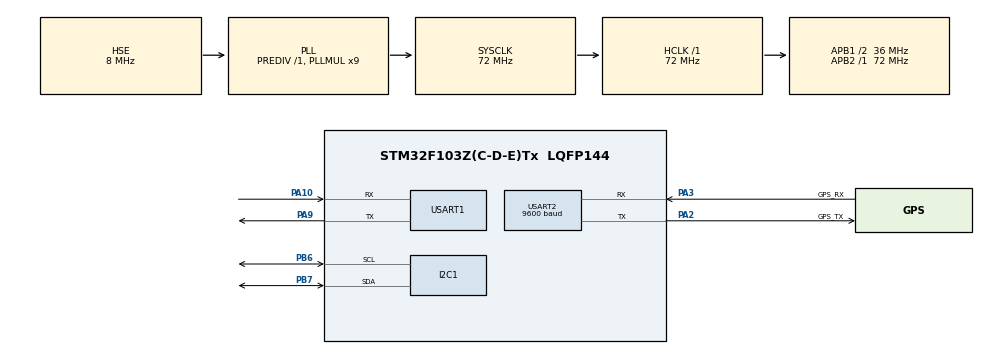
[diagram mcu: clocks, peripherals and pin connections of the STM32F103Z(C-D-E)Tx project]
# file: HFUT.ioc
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Dma.Request0=USART2_RX
Dma.USART2_RX.0.Direction=DMA_PERIPH_TO_MEMORY
Dma.USART2_RX.0.Instance=DMA1_Channel6
Dma.USART2_RX.0.MemDataAlignment=DMA_MDATAALIGN_BYTE
Dma.USART2_RX.0.MemInc=DMA_MINC_ENABLE
Dma.USART2_RX.0.Mode=DMA_CIRCULAR
Dma.USART2_RX.0.PeriphDataAlignment=DMA_PDATAALIGN_BYTE
Dma.USART2_RX.0.PeriphInc=DMA_PINC_DISABLE
Dma.USART2_RX.0.Priority=DMA_PRIORITY_MEDIUM
Mcu.Family=STM32F1
Mcu.Name=STM32F103Z(C-D-E)Tx
Mcu.Package=LQFP144
NVIC.DMA1_Channel6_IRQn=true\:0\:0\:false\:false\:true\:false\:true
NVIC.PriorityGroup=NVIC_PRIORITYGROUP_4
NVIC.USART1_IRQn=true\:0\:0\:false\:false\:true\:true\:true
OSC_IN.Mode=HSE-External-Oscillator
OSC_IN.Signal=RCC_OSC_IN
OSC_OUT.Mode=HSE-External-Oscillator
OSC_OUT.Signal=RCC_OSC_OUT
PA10.Mode=Asynchronous
PA10.Signal=USART1_RX
PA13.Mode=Serial_Wire
PA13.Signal=SYS_JTMS-SWDIO
PA14.Mode=Serial_Wire
PA14.Signal=SYS_JTCK-SWCLK
PA2.GPIO_Label=GPS_TX
PA2.Mode=Asynchronous
PA2.Signal=USART2_TX
PA3.GPIO_Label=GPS_RX
PA3.Mode=Asynchronous
PA3.Signal=USART2_RX
PA9.Mode=Asynchronous
PA9.Signal=USART1_TX
PB6.Mode=I2C
PB6.Signal=I2C1_SCL
PB7.Mode=I2C
PB7.Signal=I2C1_SDA
ProjectManager.HeapSize=0x2000
ProjectManager.StackSize=0x4000
ProjectManager.TargetToolchain=SW4STM32
RCC.AHBFreq_Value=72000000
RCC.APB1CLKDivider=RCC_HCLK_DIV2
RCC.APB1Freq_Value=36000000
RCC.APB1TimFreq_Value=72000000
RCC.APB2Freq_Value=72000000
RCC.APB2TimFreq_Value=72000000
RCC.HCLKFreq_Value=72000000
RCC.PLLMUL=RCC_PLL_MUL9
RCC.PLLSourceVirtual=RCC_PLLSOURCE_HSE
RCC.SYSCLKFreq_VALUE=72000000
RCC.SYSCLKSource=RCC_SYSCLKSOURCE_PLLCLK
RCC.USBFreq_Value=72000000
USART1.VirtualMode=VM_ASYNC
USART2.BaudRate=9600
USART2.VirtualMode=VM_ASYNC
board=custom

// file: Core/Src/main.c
/* USER CODE BEGIN Header */
/**
  ******************************************************************************
  * @file           : main.c
  * @brief          : Main program body
  ******************************************************************************
  * @attention
  *
  * <h2><center>&copy; Copyright (c) 2020 STMicroelectronics.
  * All rights reserved.</center></h2>
  *
  * This software component is licensed by ST under BSD 3-Clause license,
  * the "License"; You may not use this file except in compliance with the
  * License. You may obtain a copy of the License at:
  *                        opensource.org/licenses/BSD-3-Clause
  *
  ******************************************************************************
  */
/* USER CODE END Header */
#include "main.h"
#include "dma.h"
#include "i2c.h"
#include "usart.h"
#include "gpio.h"

/* USER CODE BEGIN Includes */
#include "bsp_led.h"
#include "bsp_oled.h"
#include "retarget.h"
#include "bsp_gsm.h"

/* USER CODE END Includes */

/* USER CODE BEGIN PD */
#define GSM_PHONE_NUM                     "17364698105"

/* 私有变量 ------------------------------------------------------------------*/
char testbuff[100];
uint8_t len;
char *rebuff;

/* USER CODE END PD */

void SystemClock_Config(void);

int main(void)
{
    /* USER CODE BEGIN 1 */
    uint8_t testCard = 0;

    /* USER CODE END 1 */

    /* MCU Configuration--------------------------------------------------------*/

    /* Reset of all peripherals, Initializes the Flash interface and the Systick. */
    HAL_Init();

    /* USER CODE BEGIN Init */
    RetargetInit(&huart1);
    /* USER CODE END Init */

    /* Configure the system clock */
    SystemClock_Config();

    /* Initialize all configured peripherals */
    MX_GPIO_Init();
    MX_DMA_Init();
    MX_I2C1_Init();
    MX_USART1_UART_Init();
    MX_USART2_UART_Init();
    /* USER CODE BEGIN 2 */

    /* Initialize all configured peripherals */
    BSP_LED_Config();
    BSP_OLED_Config();
    BSP_GSM_Config(); //初始化串口

    printf("硬石GSM模块短信收发例程\n");
    BSP_LED_On(LED1);
    /* 检测模块响应是否正常 */
    while (BSP_GSM_Init() != GSM_TRUE)
    {
        printf("\n模块响应测试不正常！！\n");
        printf("若模块响应测试一直不正常，请检查模块的连接或是否已开启电源开关\n");
        HAL_Delay(100);
    }
    BSP_LED_On(LED2);
    printf("\n通过了模块响应测试\n");

    printf("\n正在等待GSM模块初始化\n");
    while (BSP_GSM_IsInsertCard() != GSM_TRUE)
    {
        if(++testCard > 20)
        {
            printf("\n检测不到电话卡\n");
        }
        HAL_Delay(100);
    }
    printf("\n初始化完成，5秒后开始发送短信测试... \n");
    BSP_GSM_Sms(GSM_PHONE_NUM, "HELLO HFUT");
    printf("\n英文短信已发送至：%s，为方便测试，请在程序中修改接收短信的手机号码\n", GSM_PHONE_NUM);

    /* USER CODE END 2 */

    /* Infinite loop */
    /* USER CODE BEGIN WHILE */
    while (1)
    {
        BSP_LED_On(LED0);
        /* USER CODE END WHILE */

    }
}

void SystemClock_Config(void)
{
    RCC_OscInitTypeDef RCC_OscInitStruct = {0};
    RCC_ClkInitTypeDef RCC_ClkInitStruct = {0};

    /** Initializes the RCC Oscillators according to the specified parameters
    * in the RCC_OscInitTypeDef structure.
    */
    RCC_OscInitStruct.OscillatorType = RCC_OSCILLATORTYPE_HSE;
    RCC_OscInitStruct.HSEState = RCC_HSE_ON;
    RCC_OscInitStruct.HSEPredivValue = RCC_HSE_PREDIV_DIV1;
    RCC_OscInitStruct.HSIState = RCC_HSI_ON;
    RCC_OscInitStruct.PLL.PLLState = RCC_PLL_ON;
    RCC_OscInitStruct.PLL.PLLSource = RCC_PLLSOURCE_HSE;
    RCC_OscInitStruct.PLL.PLLMUL = RCC_PLL_MUL9;
    if (HAL_RCC_OscConfig(&RCC_OscInitStruct) != HAL_OK)
    {
        Error_Handler();
    }
    /** Initializes the CPU, AHB and APB buses clocks
    */
    RCC_ClkInitStruct.ClockType = RCC_CLOCKTYPE_HCLK | RCC_CLOCKTYPE_SYSCLK
                                  | RCC_CLOCKTYPE_PCLK1 | RCC_CLOCKTYPE_PCLK2;
    RCC_ClkInitStruct.SYSCLKSource = RCC_SYSCLKSOURCE_PLLCLK;
    RCC_ClkInitStruct.AHBCLKDivider = RCC_SYSCLK_DIV1;
    RCC_ClkInitStruct.APB1CLKDivider = RCC_HCLK_DIV2;
    RCC_ClkInitStruct.APB2CLKDivider = RCC_HCLK_DIV1;

    if (HAL_RCC_ClockConfig(&RCC_ClkInitStruct, FLASH_LATENCY_2) != HAL_OK)
    {
        Error_Handler();
    }
}

void Error_Handler(void)
{
}

/************************ (C) COPYRIGHT STMicroelectronics *****END OF FILE****/
